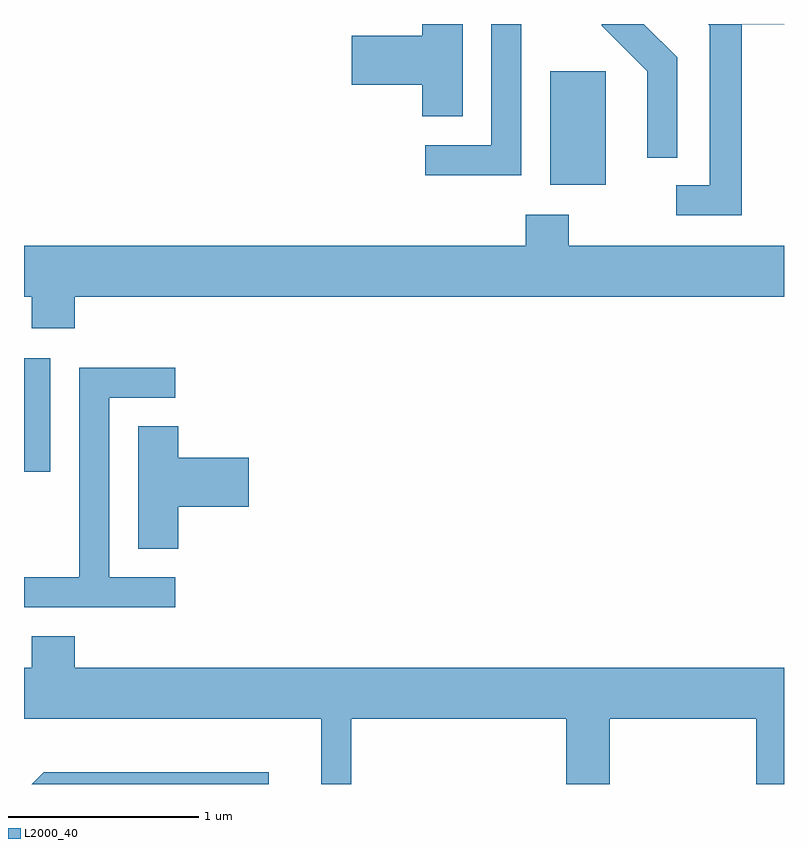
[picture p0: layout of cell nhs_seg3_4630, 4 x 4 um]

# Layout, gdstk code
import gdstk
lib = gdstk.Library(unit=1e-6, precision=1e-09)
def R(c, l, rs):  # rectangles x0, y0, x1, y1
    for r in rs: c.add(gdstk.rectangle(r[:2], r[2:], *l))
def P(c, l, *ps):  # polygons
    for p in ps: c.add(gdstk.Polygon(p, *l))
L2000_40 = (2000, 40)

nhs_seg3_4630 = lib.new_cell('nhs_seg3_4630')
R(nhs_seg3_4630, L2000_40, [(321.611,1129.536,321.749,1130.134), (324.381,1131.046,324.674,1131.644)])
P(nhs_seg3_4630, L2000_40, [(323.919,1131.892),(323.706,1131.892),(323.706,1131.829),(323.336,1131.829),(323.336,1131.571),(323.706,1131.571),(323.706,1131.406),(323.919,1131.406)],
  [(324.229,1131.892),(324.071,1131.892),(324.071,1131.254),(323.723,1131.254),(323.723,1131.096),(324.229,1131.096)],
  [(325.049,1131.717),(324.874,1131.892),(324.651,1131.892),(324.651,1131.884),(324.891,1131.644),(324.891,1131.188),(325.049,1131.188)],
  [(325.389,1131.891),(325.611,1131.891),(325.611,1131.892),(325.213,1131.892),(325.221,1131.884),(325.221,1131.044),(325.043,1131.044),(325.043,1130.886),(325.389,1130.886)],
  [(321.879,1130.456),(325.611,1130.456),(325.611,1130.724),(324.479,1130.724),(324.479,1130.889),(324.251,1130.889),(324.251,1130.724),(321.611,1130.724),(321.611,1130.456),(321.651,1130.456),(321.651,1130.291),(321.879,1130.291)],
  [(322.408,1128.979),(322.059,1128.979),(322.059,1129.926),(322.408,1129.926),(322.408,1130.084),(321.901,1130.084),(321.901,1128.979),(321.611,1128.979),(321.611,1128.821),(322.408,1128.821)],
  [(322.424,1129.351),(322.794,1129.351),(322.794,1129.609),(322.424,1129.609),(322.424,1129.774),(322.211,1129.774),(322.211,1129.131),(322.424,1129.131)],
  [(321.651,1128.669),(321.651,1128.504),(321.611,1128.504),(321.611,1128.236),(323.176,1128.236),(323.176,1127.892),(323.334,1127.892),(323.334,1128.236),(324.466,1128.236),(324.466,1127.892),(324.694,1127.892),(324.694,1128.236),(325.466,1128.236),(325.466,1127.892),(325.611,1127.892),(325.611,1128.504),(321.879,1128.504),(321.879,1128.669)],
  [(322.899,1127.954),(321.714,1127.954),(321.652,1127.892),(322.899,1127.892)])

lib.write_gds('nhs_seg3_4630.gds')
